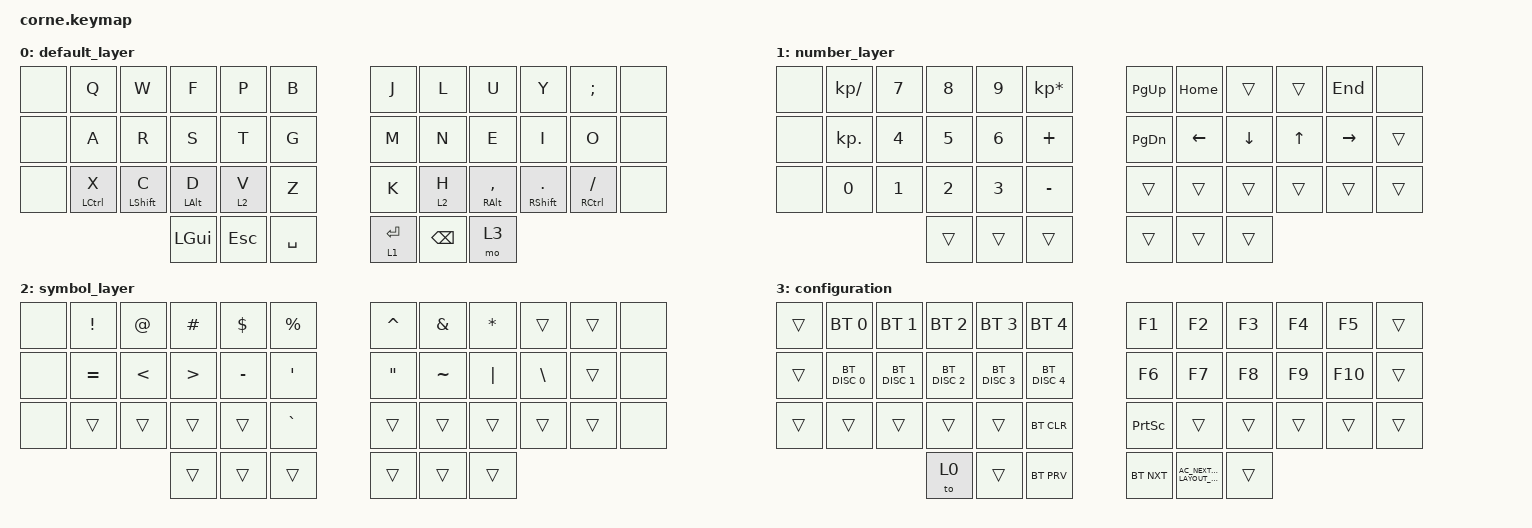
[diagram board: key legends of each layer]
/*
 * Copyright (c) 2020 The ZMK Contributors
 *
 * SPDX-License-Identifier: MIT
 */

#include <behaviors.dtsi>
#include <dt-bindings/zmk/bt.h>
#include <dt-bindings/zmk/keys.h>

/ {
    combos {
        compatible = "zmk,combos";

        RTabulation {
            bindings = <&kp TAB>;
            key-positions = <4 3>;
        };

        LParen {
            bindings = <&kp LEFT_PARENTHESIS>;
            key-positions = <7 19>;
        };

        RParen {
            bindings = <&kp RIGHT_PARENTHESIS>;
            key-positions = <8 20>;
        };

        Underscore {
            bindings = <&kp MINUS>;
            key-positions = <9 21>;
        };

        LBracket {
            bindings = <&kp LEFT_BRACKET>;
            key-positions = <19 31>;
        };

        RBracket {
            bindings = <&kp RIGHT_BRACKET>;
            key-positions = <20 32>;
        };
    };

    behaviors {
        homerowleft: homerowleft {
            compatible = "zmk,behavior-hold-tap";
            label = "HOMEROWLEFT";
            bindings = <&kp>, <&kp>;

            #binding-cells = <2>;
            flavor = "tap-preferred";
            hold-trigger-key-positions = <6 7 8 9 10 18 19 20 21 22 30 31 32 33 34>;
            tapping-term-ms = <200>;
            quick-tap-ms = <200>;
            require-prior-idle-ms = <125>;
        };

        homerowright: homerowright {
            compatible = "zmk,behavior-hold-tap";
            label = "HOMEROWRIGHT";
            bindings = <&kp>, <&kp>;

            #binding-cells = <2>;
            tapping-term-ms = <200>;
            flavor = "tap-preferred";
            hold-trigger-key-positions = <1 2 3 4 5 13 14 15 16 17 25 26 27 28 29>;
            quick-tap-ms = <200>;
            require-prior-idle-ms = <125>;
        };
    };

    keymap {
        compatible = "zmk,keymap";

        default_layer {
            // -----------------------------------------------------------------------------------------
            // |  TAB |  Q  |  W  |  E  |  R  |  T  |   |  Y  |  U   |  I  |  O  |  P  | BSPC |
            // | CTRL |  A  |  S  |  D  |  F  |  G  |   |  H  |  J   |  K  |  L  |  ;  |  '   |
            // | SHFT |  Z  |  X  |  C  |  V  |  B  |   |  N  |  M   |  ,  |  .  |  /  | ESC  |
            //                    | GUI | LWR | SPC |   | ENT | RSE  | ALT |

            bindings = <
&none  &kp Q                        &kp W                      &kp F                    &kp P       &kp B        &kp J        &kp L          &kp U                          &kp Y                          &kp SEMI                          &none
&none  &kp A                        &kp R                      &kp S                    &kp T       &kp G        &kp M        &kp N          &kp E                          &kp I                          &kp O                             &none
&none  &homerowleft LEFT_CONTROL X  &homerowleft LEFT_SHIFT C  &homerowleft LEFT_ALT D  &lt 2 V     &kp Z        &kp K        &lt 2 H        &homerowright RIGHT_ALT COMMA  &homerowright RIGHT_SHIFT DOT  &homerowright RIGHT_CONTROL FSLH  &none
                                                               &kp LEFT_GUI             &kp ESCAPE  &kp SPACE    &lt 1 ENTER  &kp BACKSPACE  &mo 3
            >;
        };

        number_layer {
            // -----------------------------------------------------------------------------------------
            // |  TAB |  1  |  2  |  3  |  4  |  5  |   |  6  |  7  |  8  |  9  |  0  | BSPC |
            // | BTCLR| BT1 | BT2 | BT3 | BT4 | BT5 |   | LFT | DWN |  UP | RGT |     |      |
            // | SHFT |     |     |     |     |     |   |     |     |     |     |     |      |
            //                    | GUI |     | SPC |   | ENT |     | ALT |

            bindings = <
&none  &kp KP_DIVIDE  &kp N7        &kp N8        &kp NUMBER_9  &kp KP_MULTIPLY    &kp PAGE_UP    &kp HOME        &trans          &trans        &kp END          &none
&none  &kp KP_DOT     &kp NUMBER_4  &kp N5        &kp NUMBER_6  &kp PLUS           &kp PAGE_DOWN  &kp LEFT_ARROW  &kp DOWN_ARROW  &kp UP_ARROW  &kp RIGHT_ARROW  &trans
&none  &kp NUMBER_0   &kp NUMBER_1  &kp NUMBER_2  &kp NUMBER_3  &kp MINUS          &trans         &trans          &trans          &trans        &trans           &trans
                                    &trans        &trans        &trans             &trans         &trans          &trans
            >;
        };

        symbol_layer {
            // -----------------------------------------------------------------------------------------
            // |  TAB |  !  |  @  |  #  |  $  |  %  |   |  ^  |  &  |  *  |  (  |  )  | BSPC |
            // | CTRL |     |     |     |     |     |   |  -  |  =  |  [  |  ]  |  \  |  `   |
            // | SHFT |     |     |     |     |     |   |  _  |  +  |  {  |  }  | "|" |  ~   |
            //                    | GUI |     | SPC |   | ENT |     | ALT |

            bindings = <
&none  &kp EXCL   &kp AT         &kp HASH          &kp DLLR   &kp PRCNT           &kp CARET          &kp AMPS   &kp ASTRK  &trans         &trans  &none
&none  &kp EQUAL  &kp LESS_THAN  &kp GREATER_THAN  &kp MINUS  &kp SINGLE_QUOTE    &kp DOUBLE_QUOTES  &kp TILDE  &kp PIPE   &kp BACKSLASH  &trans  &none
&none  &trans     &trans         &trans            &trans     &kp GRAVE           &trans             &trans     &trans     &trans         &trans  &none
                                 &trans            &trans     &trans              &trans             &trans     &trans
            >;
        };

        configuration {
            bindings = <
&trans  &bt BT_SEL 0   &bt BT_SEL 1   &bt BT_SEL 2   &bt BT_SEL 3   &bt BT_SEL 4     &kp F1           &kp F2                                &kp F3  &kp F4  &kp F5   &trans
&trans  &bt BT_DISC 0  &bt BT_DISC 1  &bt BT_DISC 2  &bt BT_DISC 3  &bt BT_DISC 4    &kp F6           &kp F7                                &kp F8  &kp F9  &kp F10  &trans
&trans  &trans         &trans         &trans         &trans         &bt BT_CLR       &kp PRINTSCREEN  &trans                                &trans  &trans  &trans   &trans
                                      &to 0          &trans         &bt BT_PRV       &bt BT_NXT       &kp C_AC_NEXT_KEYBOARD_LAYOUT_SELECT  &trans
            >;
        };
    };
};
